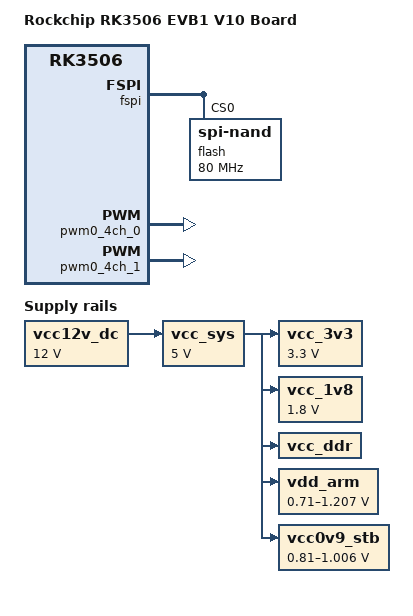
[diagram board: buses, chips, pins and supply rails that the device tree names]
// SPDX-License-Identifier: (GPL-2.0+ OR MIT)
/*
 * Copyright (c) 2024 Rockchip Electronics Co., Ltd.
 */

/dts-v1/;

#include "rk3506.dtsi"

/ {
	model = "Rockchip RK3506 EVB1 V10 Board";
	compatible = "rockchip,rk3506-evb1-v10", "rockchip,rk3506";

	chosen {
		bootargs = "earlycon=uart8250,mmio32,0xff0a0000 console=ttyFIQ0 root=PARTUUID=614e0000-0000 rootfstype=squashfs rootwait snd_aloop.index=7 snd_aloop.use_raw_jiffies=1";
	};

	fiq_debugger: fiq-debugger {
		compatible = "rockchip,fiq-debugger";
		rockchip,serial-id = <0>;
		rockchip,wake-irq = <0>;
		rockchip,irq-mode-enable = <1>;
		rockchip,baudrate = <1500000>;	/* Only 115200 and 1500000 */
		interrupts = <GIC_SPI 115 IRQ_TYPE_LEVEL_HIGH>;
	};

	vcc12v_dc: vcc12v-dc {
		compatible = "regulator-fixed";
		regulator-name = "vcc12v_dc";
		regulator-always-on;
		regulator-boot-on;
		regulator-min-microvolt = <12000000>;
		regulator-max-microvolt = <12000000>;
	};

	vcc_sys: vcc-sys {
		compatible = "regulator-fixed";
		regulator-name = "vcc_sys";
		regulator-always-on;
		regulator-boot-on;
		regulator-min-microvolt = <5000000>;
		regulator-max-microvolt = <5000000>;
		vin-supply = <&vcc12v_dc>;
	};

	vcc_3v3: vcc-3v3 {
		compatible = "regulator-fixed";
		regulator-name = "vcc_3v3";
		regulator-always-on;
		regulator-boot-on;
		regulator-min-microvolt = <3300000>;
		regulator-max-microvolt = <3300000>;
		vin-supply = <&vcc_sys>;
	};

	vcc_1v8: vcc-1v8 {
		compatible = "regulator-fixed";
		regulator-name = "vcc_1v8";
		regulator-always-on;
		regulator-boot-on;
		regulator-min-microvolt = <1800000>;
		regulator-max-microvolt = <1800000>;
		vin-supply = <&vcc_sys>;
	};

	vcc_ddr: vcc-ddr {
		compatible = "regulator-fixed";
		regulator-name = "vcc_ddr";
		regulator-always-on;
		regulator-boot-on;
		vin-supply = <&vcc_sys>;
	};

	vdd_arm: vdd-arm {
		compatible = "pwm-regulator";
		pwms = <&pwm0_4ch_0 0 5000 1>;
		regulator-name = "vdd_arm";
		regulator-min-microvolt = <710000>;
		regulator-max-microvolt = <1207000>;
		regulator-init-microvolt = <1011000>;
		regulator-always-on;
		regulator-boot-on;
		regulator-settling-time-up-us = <250>;
		pwm-supply = <&vcc_sys>;
	};

	vcc0v9_stb: vcc0v9-stb {
		compatible = "pwm-regulator";
		pwms = <&pwm0_4ch_1 0 5000 1>;
		regulator-name = "vcc0v9_stb";
		regulator-min-microvolt = <810000>;
		regulator-max-microvolt = <1006000>;
		regulator-init-microvolt = <900000>;
		regulator-always-on;
		regulator-boot-on;
		regulator-settling-time-up-us = <250>;
		pwm-supply = <&vcc_sys>;
	};
};

&fspi {
	status = "okay";

	flash@0 {
		compatible = "spi-nand";
		reg = <0>;
		spi-max-frequency = <80000000>;
		spi-rx-bus-width = <4>;
		spi-tx-bus-width = <1>;
	};
};

&pwm0_4ch_0 {
	pinctrl-names = "active";
	pinctrl-0 = <&rm_io21_pwm0_ch0>;
	status = "okay";
};

&pwm0_4ch_1 {
	pinctrl-names = "active";
	pinctrl-0 = <&rm_io20_pwm0_ch1>;
	status = "okay";
};
